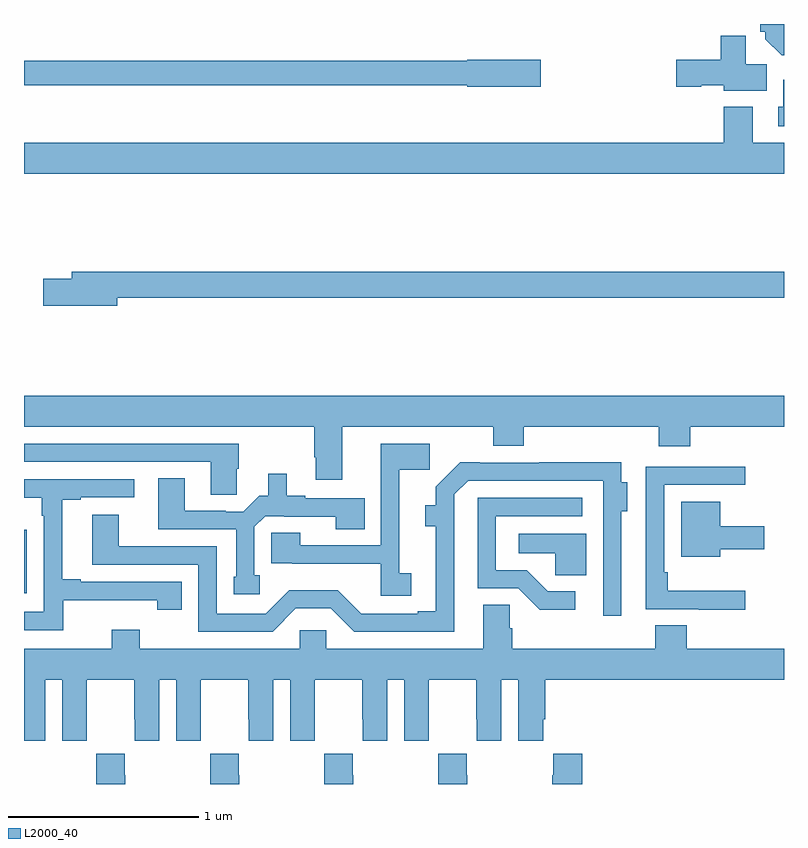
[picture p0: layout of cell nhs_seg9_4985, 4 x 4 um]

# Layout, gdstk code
import gdstk
lib = gdstk.Library(unit=1e-6, precision=1e-09)
def R(c, l, rs):  # rectangles x0, y0, x1, y1
    for r in rs: c.add(gdstk.rectangle(r[:2], r[2:], *l))
def P(c, l, *ps):  # polygons
    for p in ps: c.add(gdstk.Polygon(p, *l))
L2000_40 = (2000, 40)

nhs_seg9_4985 = lib.new_cell('nhs_seg9_4985')
R(nhs_seg9_4985, L2000_40, [(399,1235.505,399.015,1235.839)])
P(nhs_seg9_4985, L2000_40, [(403,1238.5),(402.876,1238.5),(402.876,1238.46),(402.902,1238.46),(402.902,1238.421),(402.987,1238.336),(403,1238.336)],
  [(402.91,1238.288),(402.799,1238.288),(402.799,1238.437),(402.668,1238.437),(402.668,1238.312),(402.432,1238.312),(402.432,1238.17),(402.564,1238.17),(402.564,1238.177),(402.684,1238.177),(402.684,1238.15),(402.91,1238.15)],
  [(401.719,1238.312),(401.334,1238.312),(401.334,1238.306),(399,1238.306),(399,1238.178),(401.334,1238.178),(401.334,1238.17),(401.719,1238.17)],
  [(403,1238.206),(402.995,1238.206),(402.995,1238.064),(402.971,1238.064),(402.971,1237.962),(403,1237.962)],
  [(402.683,1238.065),(402.683,1237.876),(399,1237.876),(399,1237.712),(403,1237.712),(403,1237.876),(402.835,1237.876),(402.835,1238.065)],
  [(399.49,1237.06),(403,1237.06),(403,1237.196),(399.251,1237.196),(399.251,1237.16),(399.102,1237.16),(399.102,1237.018),(399.49,1237.018)],
  [(400.675,1236.38),(401.47,1236.38),(401.47,1236.281),(401.63,1236.281),(401.63,1236.38),(402.341,1236.38),(402.341,1236.278),(402.506,1236.278),(402.506,1236.38),(403,1236.38),(403,1236.544),(399,1236.544),(399,1236.38),(400.528,1236.38),(400.528,1236.22),(400.535,1236.22),(400.535,1236.102),(400.675,1236.102)],
  [(401.038,1235.61),(400.975,1235.61),(400.975,1236.153),(401.136,1236.153),(401.136,1236.292),(400.878,1236.292),(400.878,1235.757),(400.455,1235.757),(400.455,1235.822),(400.301,1235.822),(400.301,1235.661),(400.411,1235.661),(400.411,1235.66),(400.878,1235.66),(400.878,1235.49),(401.038,1235.49)],
  [(400.121,1236.159),(400.131,1236.159),(400.131,1236.291),(399,1236.291),(399,1236.195),(399.983,1236.195),(399.983,1236.022),(400.121,1236.022)],
  [(400.431,1235.424),(400.614,1235.424),(400.737,1235.301),(401.265,1235.301),(401.265,1236.024),(401.337,1236.096),(402.048,1236.096),(402.048,1235.385),(402.144,1235.385),(402.144,1235.936),(402.175,1235.936),(402.175,1236.088),(402.144,1236.088),(402.144,1236.194),(401.713,1236.194),(401.713,1236.192),(401.398,1236.192),(401.398,1236.194),(401.297,1236.194),(401.168,1236.064),(401.168,1235.966),(401.111,1235.966),(401.111,1235.856),(401.168,1235.856),(401.168,1235.41),(401.072,1235.41),(401.072,1235.397),(400.774,1235.397),(400.65,1235.521),(400.396,1235.521),(400.272,1235.397),(400.014,1235.397),(400.014,1235.751),(399.499,1235.751),(399.499,1235.917),(399.359,1235.917),(399.359,1235.655),(399.918,1235.655),(399.918,1235.301),(400.308,1235.301)],
  [(402.796,1235.518),(402.389,1235.518),(402.389,1235.614),(402.369,1235.614),(402.369,1236.075),(402.796,1236.075),(402.796,1236.171),(402.273,1236.171),(402.273,1235.421),(402.551,1235.421),(402.551,1235.417),(402.796,1235.417)],
  [(400.242,1235.598),(400.212,1235.598),(400.212,1235.853),(400.269,1235.91),(400.369,1235.91),(400.369,1235.907),(400.642,1235.907),(400.642,1235.842),(400.793,1235.842),(400.793,1236.003),(400.48,1236.003),(400.48,1236.018),(400.384,1236.018),(400.384,1236.133),(400.286,1236.133),(400.286,1236.018),(400.239,1236.018),(400.155,1235.934),(400.061,1235.934),(400.061,1235.937),(399.847,1235.937),(399.847,1236.11),(399.707,1236.11),(399.707,1235.841),(400.116,1235.841),(400.116,1235.592),(400.103,1235.592),(400.103,1235.499),(400.242,1235.499)],
  [(399.206,1235.468),(399.701,1235.468),(399.701,1235.418),(399.829,1235.418),(399.829,1235.565),(399.298,1235.565),(399.298,1235.578),(399.202,1235.578),(399.202,1235.997),(399.298,1235.997),(399.298,1236.009),(399.58,1236.009),(399.58,1236.105),(399,1236.105),(399,1236.006),(399.093,1236.006),(399.093,1235.912),(399.105,1235.912),(399.105,1235.406),(399,1235.406),(399,1235.31),(399.206,1235.31)],
  [(401.902,1235.514),(401.757,1235.514),(401.646,1235.625),(401.484,1235.625),(401.484,1235.91),(401.938,1235.91),(401.938,1236.006),(401.388,1236.006),(401.388,1235.529),(401.601,1235.529),(401.714,1235.417),(401.902,1235.417)],
  [(402.664,1235.735),(402.895,1235.735),(402.895,1235.857),(402.664,1235.857),(402.664,1235.986),(402.458,1235.986),(402.458,1235.696),(402.664,1235.696)],
  [(401.959,1235.818),(401.604,1235.818),(401.604,1235.714),(401.796,1235.714),(401.796,1235.6),(401.959,1235.6)],
  [(399.609,1235.311),(399.461,1235.311),(399.461,1235.212),(399,1235.212),(399,1234.728),(399.112,1234.728),(399.112,1235.048),(399.2,1235.048),(399.2,1234.728),(399.33,1234.728),(399.33,1234.84),(399.331,1234.84),(399.331,1235.048),(399.581,1235.048),(399.581,1234.84),(399.582,1234.84),(399.582,1234.728),(399.712,1234.728),(399.712,1235.048),(399.8,1235.048),(399.8,1234.728),(399.93,1234.728),(399.93,1234.84),(399.931,1234.84),(399.931,1235.048),(400.181,1235.048),(400.181,1234.84),(400.182,1234.84),(400.182,1234.728),(400.312,1234.728),(400.312,1235.048),(400.4,1235.048),(400.4,1234.728),(400.53,1234.728),(400.53,1234.84),(400.531,1234.84),(400.531,1235.048),(400.781,1235.048),(400.781,1234.84),(400.782,1234.84),(400.782,1234.728),(400.912,1234.728),(400.912,1235.048),(401,1235.048),(401,1234.728),(401.13,1234.728),(401.13,1234.84),(401.131,1234.84),(401.131,1235.048),(401.381,1235.048),(401.381,1234.84),(401.382,1234.84),(401.382,1234.728),(401.512,1234.728),(401.512,1235.048),(401.6,1235.048),(401.6,1234.728),(401.734,1234.728),(401.734,1234.84),(401.744,1234.84),(401.744,1235.048),(403,1235.048),(403,1235.212),(402.488,1235.212),(402.488,1235.336),(402.323,1235.336),(402.323,1235.212),(401.57,1235.212),(401.57,1235.321),(401.556,1235.321),(401.556,1235.444),(401.417,1235.444),(401.417,1235.212),(400.59,1235.212),(400.59,1235.31),(400.452,1235.31),(400.452,1235.212),(399.609,1235.212)],
  [(401.939,1234.66),(401.785,1234.66),(401.785,1234.547),(401.779,1234.547),(401.779,1234.5),(401.939,1234.5)],
  [(401.334,1234.547),(401.331,1234.547),(401.331,1234.66),(401.181,1234.66),(401.181,1234.547),(401.179,1234.547),(401.179,1234.5),(401.334,1234.5)],
  [(400.734,1234.547),(400.731,1234.547),(400.731,1234.66),(400.581,1234.66),(400.581,1234.547),(400.579,1234.547),(400.579,1234.5),(400.734,1234.5)],
  [(400.134,1234.547),(400.131,1234.547),(400.131,1234.66),(399.981,1234.66),(399.981,1234.547),(399.979,1234.547),(399.979,1234.5),(400.134,1234.5)],
  [(399.534,1234.547),(399.531,1234.547),(399.531,1234.66),(399.381,1234.66),(399.381,1234.547),(399.379,1234.547),(399.379,1234.5),(399.534,1234.5)])

lib.write_gds('nhs_seg9_4985.gds')
